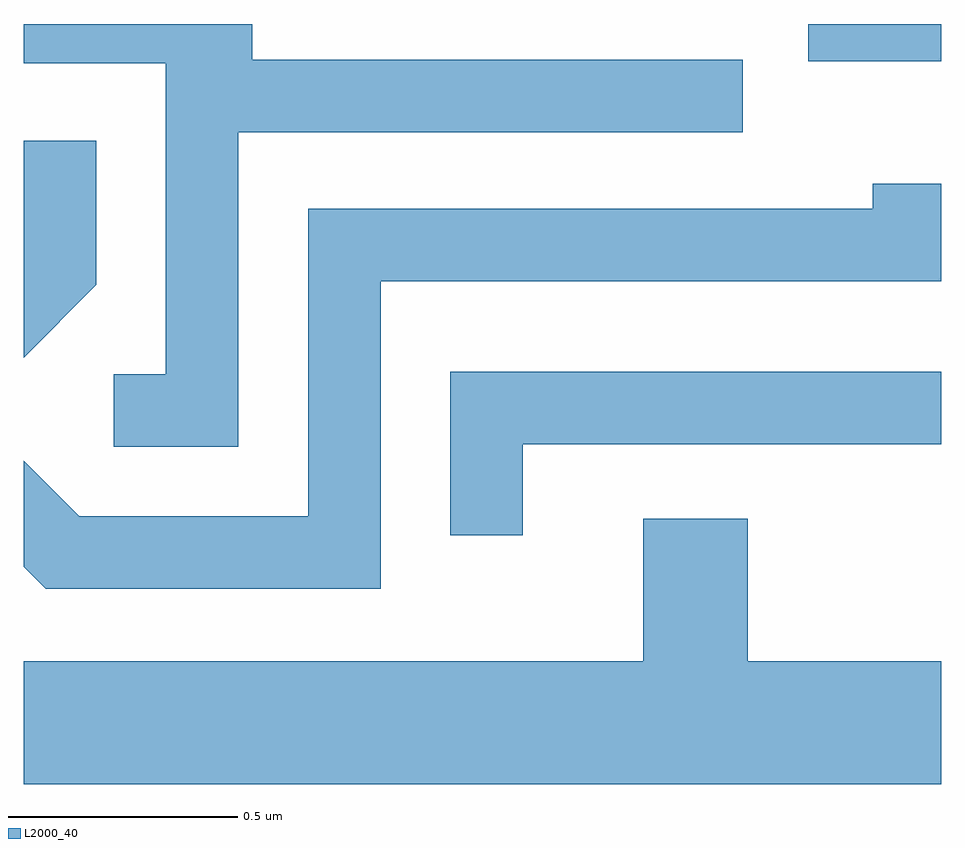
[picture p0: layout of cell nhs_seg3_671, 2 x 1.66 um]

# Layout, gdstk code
import gdstk
lib = gdstk.Library(unit=1e-6, precision=1e-09)
def R(c, l, rs):  # rectangles x0, y0, x1, y1
    for r in rs: c.add(gdstk.rectangle(r[:2], r[2:], *l))
def P(c, l, *ps):  # polygons
    for p in ps: c.add(gdstk.Polygon(p, *l))
L2000_40 = (2000, 40)

nhs_seg3_671 = lib.new_cell('nhs_seg3_671')
R(nhs_seg3_671, L2000_40, [(191.321,1240.811,191.611,1240.892)])
P(nhs_seg3_671, L2000_40, [(190.079,1240.656),(191.178,1240.656),(191.178,1240.814),(190.109,1240.814),(190.109,1240.892),(189.611,1240.892),(189.611,1240.806),(189.921,1240.806),(189.921,1240.129),(189.808,1240.129),(189.808,1239.971),(190.079,1239.971)],
  [(189.769,1240.324),(189.769,1240.638),(189.611,1240.638),(189.611,1240.165)],
  [(190.389,1240.331),(191.611,1240.331),(191.611,1240.544),(191.461,1240.544),(191.461,1240.489),(190.231,1240.489),(190.231,1239.819),(189.732,1239.819),(189.611,1239.94),(189.611,1239.709),(189.659,1239.661),(190.389,1239.661)],
  [(190.699,1239.976),(191.611,1239.976),(191.611,1240.134),(190.541,1240.134),(190.541,1239.778),(190.699,1239.778)],
  [(191.611,1239.504),(191.189,1239.504),(191.189,1239.814),(190.961,1239.814),(190.961,1239.504),(189.611,1239.504),(189.611,1239.236),(191.611,1239.236)])

lib.write_gds('nhs_seg3_671.gds')
